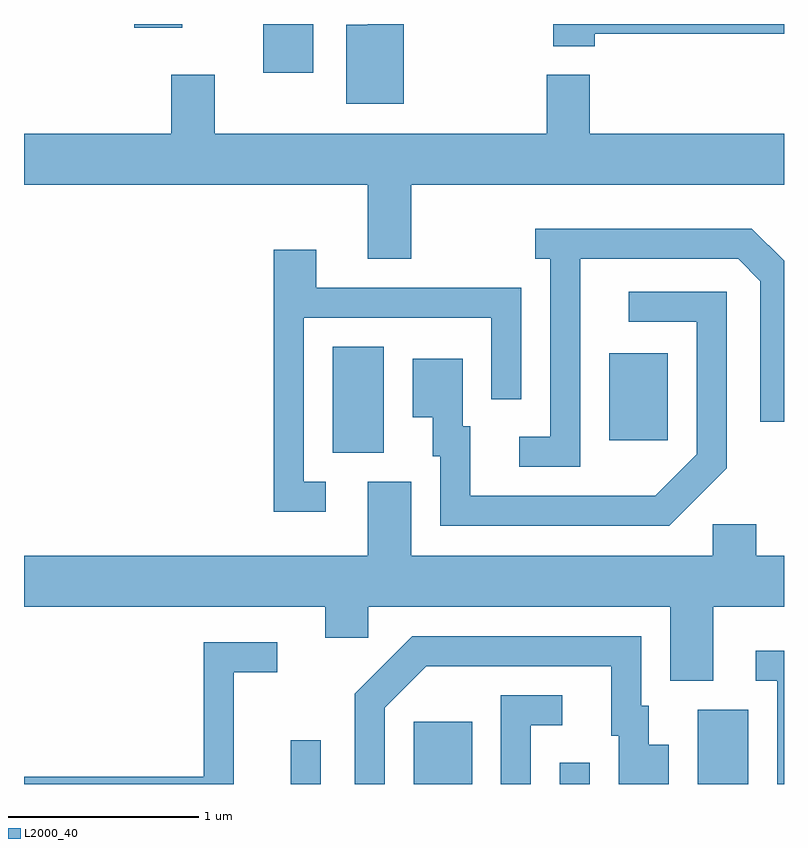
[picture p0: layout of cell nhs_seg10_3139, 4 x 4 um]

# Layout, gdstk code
import gdstk
lib = gdstk.Library(unit=1e-6, precision=1e-09)
def R(c, l, rs):  # rectangles x0, y0, x1, y1
    for r in rs: c.add(gdstk.rectangle(r[:2], r[2:], *l))
def P(c, l, *ps):  # polygons
    for p in ps: c.add(gdstk.Polygon(p, *l))
L2000_40 = (2000, 40)

nhs_seg10_3139 = lib.new_cell('nhs_seg10_3139')
R(nhs_seg10_3139, L2000_40, [(279.016,2128.522,279.174,2128.753), (279.661,2128.522,279.969,2128.849), (280.431,2128.522,280.589,2128.633), (281.156,2128.522,281.424,2128.914), (279.236,2130.266,279.504,2130.824), (280.691,2130.331,280.999,2130.789), (278.871,2132.266,279.134,2132.522), (278.191,2132.501,278.444,2132.522)])
P(nhs_seg10_3139, L2000_40, [(279.609,2132.522),(279.421,2132.522),(279.421,2132.519),(279.306,2132.519),(279.306,2132.101),(279.609,2132.101)],
  [(280.614,2132.471),(281.611,2132.471),(281.611,2132.522),(280.396,2132.522),(280.396,2132.406),(280.614,2132.406)],
  [(279.649,2131.676),(281.611,2131.676),(281.611,2131.944),(280.589,2131.944),(280.589,2132.254),(280.361,2132.254),(280.361,2131.944),(278.614,2131.944),(278.614,2132.254),(278.386,2132.254),(278.386,2131.944),(277.611,2131.944),(277.611,2131.676),(279.421,2131.676),(279.421,2131.286),(279.649,2131.286)],
  [(280.539,2131.286),(281.369,2131.286),(281.486,2131.169),(281.486,2130.428),(281.611,2130.428),(281.611,2131.275),(281.442,2131.444),(280.303,2131.444),(280.303,2131.286),(280.381,2131.286),(280.381,2130.349),(280.218,2130.349),(280.218,2130.191),(280.539,2130.191)],
  [(279.198,2130.114),(279.084,2130.114),(279.084,2130.976),(280.071,2130.976),(280.071,2130.548),(280.229,2130.548),(280.229,2131.134),(279.149,2131.134),(279.149,2131.334),(278.926,2131.334),(278.926,2129.956),(279.198,2129.956)],
  [(281.309,2130.184),(281.309,2131.114),(280.793,2131.114),(280.793,2130.956),(281.151,2130.956),(281.151,2130.257),(280.934,2130.039),(279.959,2130.039),(279.959,2130.404),(279.919,2130.404),(279.919,2130.759),(279.656,2130.759),(279.656,2130.451),(279.761,2130.451),(279.761,2130.246),(279.801,2130.246),(279.801,2129.881),(281.007,2129.881)],
  [(281.239,2129.456),(281.611,2129.456),(281.611,2129.724),(281.464,2129.724),(281.464,2129.889),(281.236,2129.889),(281.236,2129.724),(279.649,2129.724),(279.649,2130.114),(279.421,2130.114),(279.421,2129.724),(277.611,2129.724),(277.611,2129.456),(279.196,2129.456),(279.196,2129.291),(279.424,2129.291),(279.424,2129.456),(281.011,2129.456),(281.011,2129.066),(281.239,2129.066)],
  [(279.509,2128.924),(279.727,2129.141),(280.701,2129.141),(280.701,2128.776),(280.741,2128.776),(280.741,2128.522),(281.004,2128.522),(281.004,2128.729),(280.899,2128.729),(280.899,2128.934),(280.859,2128.934),(280.859,2129.299),(279.654,2129.299),(279.351,2128.997),(279.351,2128.522),(279.509,2128.522)],
  [(278.714,2129.111),(278.943,2129.111),(278.943,2129.269),(278.556,2129.269),(278.556,2128.559),(277.611,2128.559),(277.611,2128.522),(278.714,2128.522)],
  [(281.611,2129.224),(281.463,2129.224),(281.463,2129.066),(281.576,2129.066),(281.576,2128.522),(281.611,2128.522)],
  [(280.279,2128.831),(280.443,2128.831),(280.443,2128.989),(280.121,2128.989),(280.121,2128.522),(280.279,2128.522)])

lib.write_gds('nhs_seg10_3139.gds')
